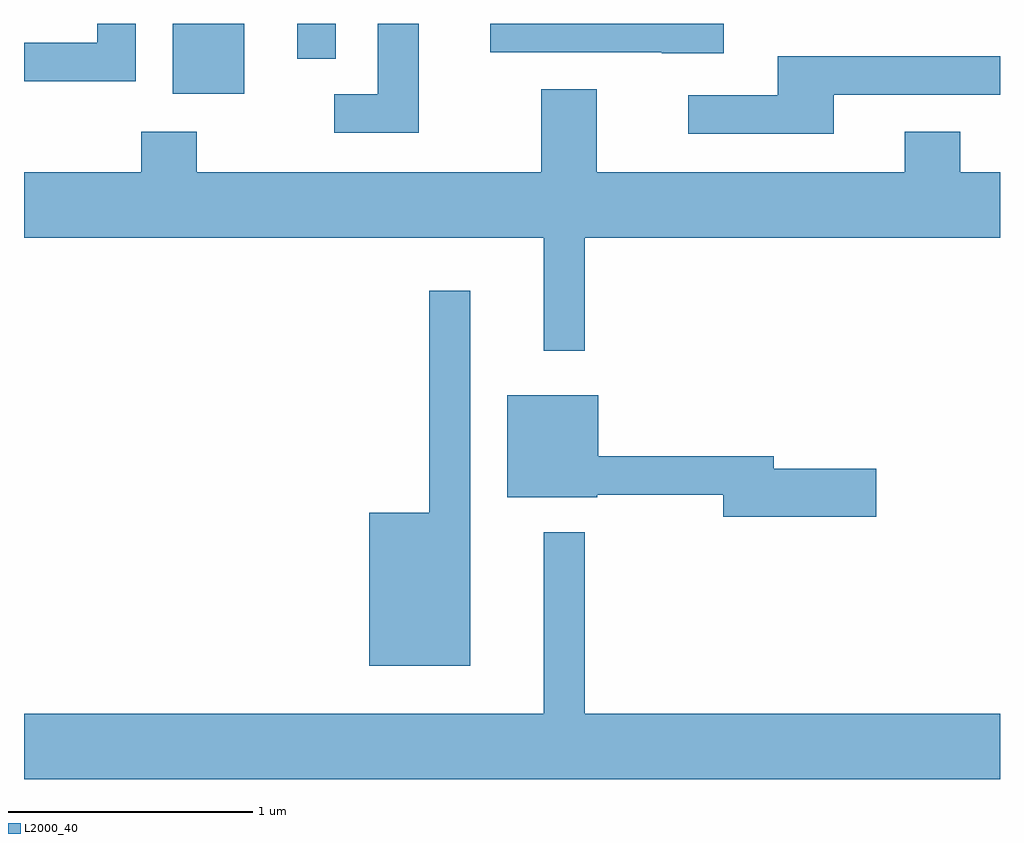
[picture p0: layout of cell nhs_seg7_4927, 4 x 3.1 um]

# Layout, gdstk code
import gdstk
lib = gdstk.Library(unit=1e-6, precision=1e-09)
def R(c, l, rs):  # rectangles x0, y0, x1, y1
    for r in rs: c.add(gdstk.rectangle(r[:2], r[2:], *l))
def P(c, l, *ps):  # polygons
    for p in ps: c.add(gdstk.Polygon(p, *l))
L2000_40 = (2000, 40)

nhs_seg7_4927 = lib.new_cell('nhs_seg7_4927')
R(nhs_seg7_4927, L2000_40, [(336.221,1765.966,336.514,1766.252), (336.731,1766.108,336.889,1766.252)])
P(nhs_seg7_4927, L2000_40, [(336.069,1766.252),(335.911,1766.252),(335.911,1766.174),(335.611,1766.174),(335.611,1766.016),(336.069,1766.016)],
  [(338.479,1766.252),(337.521,1766.252),(337.521,1766.136),(338.225,1766.136),(338.225,1766.131),(338.479,1766.131)],
  [(337.229,1766.252),(337.061,1766.252),(337.061,1765.964),(336.883,1765.964),(336.883,1765.806),(337.229,1765.806)],
  [(338.929,1765.961),(339.611,1765.961),(339.611,1766.119),(338.701,1766.119),(338.701,1765.959),(338.333,1765.959),(338.333,1765.801),(338.929,1765.801)],
  [(337.909,1765.376),(339.611,1765.376),(339.611,1765.644),(339.449,1765.644),(339.449,1765.809),(339.221,1765.809),(339.221,1765.644),(337.959,1765.644),(337.959,1765.984),(337.731,1765.984),(337.731,1765.644),(336.319,1765.644),(336.319,1765.809),(336.091,1765.809),(336.091,1765.644),(335.611,1765.644),(335.611,1765.376),(337.741,1765.376),(337.741,1764.913),(337.909,1764.913)],
  [(337.439,1765.158),(337.271,1765.158),(337.271,1764.249),(337.026,1764.249),(337.026,1763.621),(337.439,1763.621)],
  [(339.104,1764.429),(338.684,1764.429),(338.684,1764.479),(337.964,1764.479),(337.964,1764.729),(337.591,1764.729),(337.591,1764.311),(337.96,1764.311),(337.96,1764.321),(338.476,1764.321),(338.476,1764.231),(339.104,1764.231)],
  [(339.611,1763.424),(337.909,1763.424),(337.909,1764.168),(337.741,1764.168),(337.741,1763.424),(335.611,1763.424),(335.611,1763.156),(339.611,1763.156)])

lib.write_gds('nhs_seg7_4927.gds')
